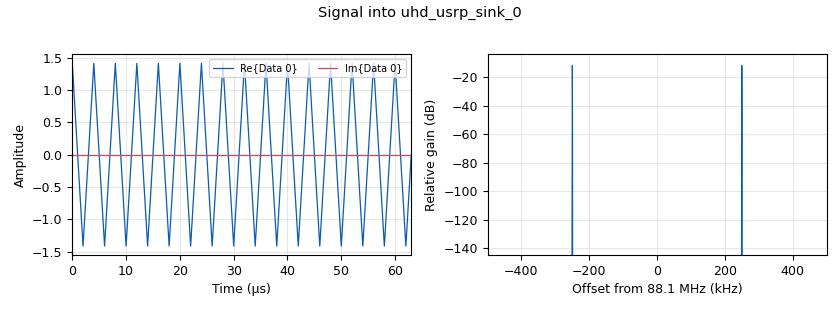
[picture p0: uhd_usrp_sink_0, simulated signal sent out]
<?xml version='1.0' encoding='utf-8'?>
<?grc format='1' created='3.7.8'?>
<flow_graph>
<block>
<key>options</key>
<param><key>id</key><value>top_block</value></param>
<param><key>category</key><value>Custom</value></param>
<param><key>generate_options</key><value>wx_gui</value></param>
</block>
<block>
<key>variable</key>
<param><key>id</key><value>samp_rate</value></param>
<param><key>value</key><value>1000000</value></param>
</block>
<block>
<key>blocks_file_sink</key>
<param><key>id</key><value>blocks_file_sink_0</value></param>
<param><key>file</key><value>dbpsk_out.txt</value></param>
<param><key>type</key><value>byte</value></param>
<param><key>unbuffered</key><value>True</value></param>
</block>
<block>
<key>blocks_unpacked_to_packed_xx</key>
<param><key>id</key><value>blocks_unpacked_to_packed_xx_0</value></param>
<param><key>bits_per_chunk</key><value>1</value></param>
<param><key>endianness</key><value>gr.GR_MSB_FIRST</value></param>
<param><key>type</key><value>byte</value></param>
</block>
<block>
<key>blocks_vector_source_x</key>
<param><key>id</key><value>blocks_vector_source_x_0</value></param>
<param><key>type</key><value>byte</value></param>
<param><key>repeat</key><value>True</value></param>
<param><key>vector</key><value>[1,1]</value></param>
</block>
<block>
<key>digital_dxpsk_demod</key>
<param><key>id</key><value>digital_dxpsk_demod_0</value></param>
<param><key>excess_bw</key><value>0.35</value></param>
<param><key>freq_bw</key><value>6.28/100.0</value></param>
<param><key>mod_code</key><value>"gray"</value></param>
<param><key>log</key><value>False</value></param>
<param><key>phase_bw</key><value>6.28/100.0</value></param>
<param><key>samples_per_symbol</key><value>2</value></param>
<param><key>sync_out</key><value>True</value></param>
<param><key>timing_bw</key><value>6.28/100.0</value></param>
<param><key>type</key><value>dbpsk</value></param>
<param><key>verbose</key><value>False</value></param>
</block>
<block>
<key>digital_dxpsk_mod</key>
<param><key>id</key><value>digital_dxpsk_mod_0</value></param>
<param><key>excess_bw</key><value>0.35</value></param>
<param><key>mod_code</key><value>"gray"</value></param>
<param><key>log</key><value>False</value></param>
<param><key>samples_per_symbol</key><value>2</value></param>
<param><key>type</key><value>dbpsk</value></param>
<param><key>verbose</key><value>False</value></param>
</block>
<block>
<key>uhd_usrp_sink</key>
<param><key>id</key><value>uhd_usrp_sink_0</value></param>
<param><key>ant0</key><value>TX/RX</value></param>
<param><key>center_freq0</key><value>88.1e6</value></param>
<param><key>norm_gain0</key><value>False</value></param>
<param><key>gain0</key><value>0</value></param>
<param><key>clock_rate</key><value>0.0</value></param>
<param><key>dev_args</key><value>""</value></param>
<param><key>type</key><value>fc32</value></param>
<param><key>len_tag_name</key><value></value></param>
<param><key>samp_rate</key><value>samp_rate</value></param>
<param><key>sync</key><value></value></param>
</block>
<block>
<key>uhd_usrp_source</key>
<param><key>id</key><value>uhd_usrp_source_0</value></param>
<param><key>ant0</key><value>RX2</value></param>
<param><key>center_freq0</key><value>88.1e6</value></param>
<param><key>norm_gain0</key><value>False</value></param>
<param><key>gain0</key><value>0</value></param>
<param><key>clock_rate</key><value>0.0</value></param>
<param><key>dev_args</key><value>""</value></param>
<param><key>type</key><value>fc32</value></param>
<param><key>samp_rate</key><value>samp_rate</value></param>
<param><key>sync</key><value></value></param>
</block>
<connection><source_block_id>blocks_unpacked_to_packed_xx_0</source_block_id><sink_block_id>digital_dxpsk_mod_0</sink_block_id><source_key>0</source_key><sink_key>0</sink_key></connection>
<connection><source_block_id>blocks_vector_source_x_0</source_block_id><sink_block_id>blocks_unpacked_to_packed_xx_0</sink_block_id><source_key>0</source_key><sink_key>0</sink_key></connection>
<connection><source_block_id>digital_dxpsk_demod_0</source_block_id><sink_block_id>blocks_file_sink_0</sink_block_id><source_key>0</source_key><sink_key>0</sink_key></connection>
<connection><source_block_id>digital_dxpsk_mod_0</source_block_id><sink_block_id>uhd_usrp_sink_0</sink_block_id><source_key>0</source_key><sink_key>0</sink_key></connection>
<connection><source_block_id>uhd_usrp_source_0</source_block_id><sink_block_id>digital_dxpsk_demod_0</sink_block_id><source_key>0</source_key><sink_key>0</sink_key></connection>
</flow_graph>
